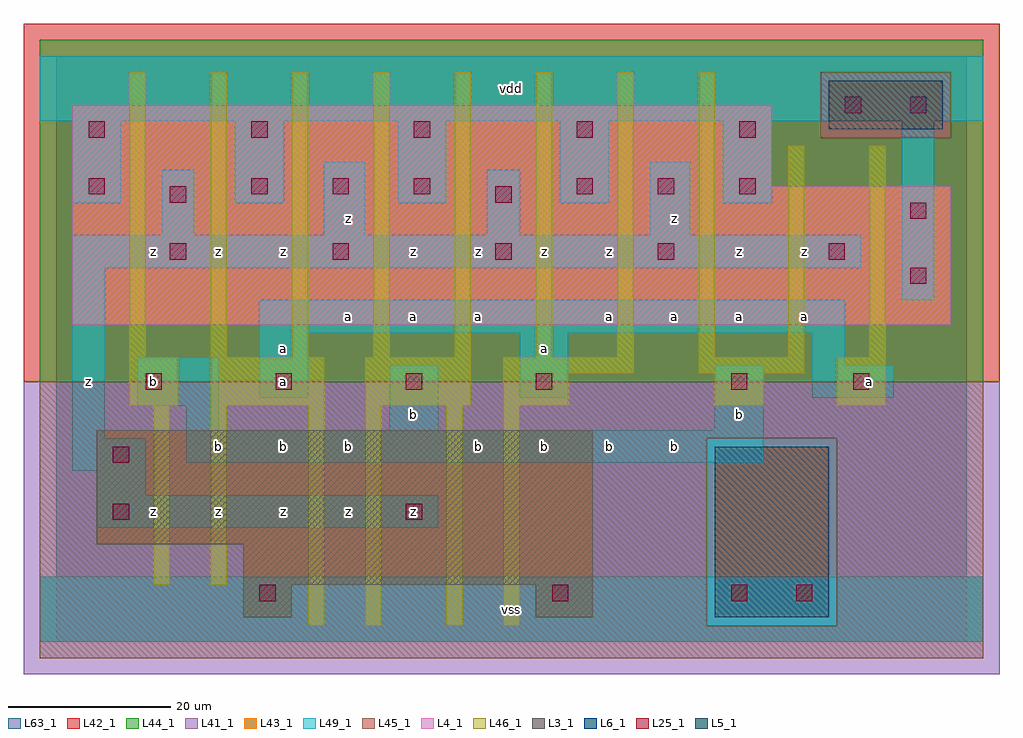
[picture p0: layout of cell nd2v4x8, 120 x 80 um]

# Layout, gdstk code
import gdstk
lib = gdstk.Library(unit=1e-6, precision=1e-09)
def R(c, l, rs):  # rectangles x0, y0, x1, y1
    for r in rs: c.add(gdstk.rectangle(r[:2], r[2:], *l))
def A(c, l, x, y, w, h, nx, ny, dx, dy):  # array of equal rectangles
    R(c, l, [(x+i*dx, y+j*dy, x+i*dx+w, y+j*dy+h) for i in range(nx) for j in range(ny)])
L3_1 = (3, 1)
L4_1 = (4, 1)
L5_1 = (5, 1)
L6_1 = (6, 1)
L25_1 = (25, 1)
L41_1 = (41, 1)
L42_1 = (42, 1)
L43_1 = (43, 1)
L44_1 = (44, 1)
L45_1 = (45, 1)
L46_1 = (46, 1)
L49_1 = (49, 1)
L63_1 = (63, 1)

nd2v4x8 = lib.new_cell('nd2v4x8')
R(nd2v4x8, L3_1, [(23,3,29,7), (59,3,66,7), (23,7,66,12), (5,12,66,26)])
R(nd2v4x8, L4_1, [(2,39,110,56), (2,56,88,66)])
R(nd2v4x8, L5_1, [(95,63,109,69)])
R(nd2v4x8, L6_1, [(81,3,95,24), (81,3,95,24)])
A(nd2v4x8, L25_1, 11, 31, 2, 2, 4, 1, 16, 0)
A(nd2v4x8, L25_1, 14, 47, 2, 2, 4, 1, 20, 0)
A(nd2v4x8, L25_1, 24, 55, 2, 2, 3, 1, 10, 0)
A(nd2v4x8, L25_1, 64, 55, 2, 2, 3, 1, 10, 0)
A(nd2v4x8, L25_1, 4, 62, 2, 2, 5, 1, 20, 0)
R(nd2v4x8, L25_1, [(25,5,27,7), (61,5,63,7), (83,5,85,7), (91,5,93,7), (7,15,9,17), (43,15,45,17), (7,22,9,24), (83,31,85,33), (98,31,100,33), (105,44,107,46), (95,47,97,49), (105,52,107,54), (14,54,16,56), (54,54,56,56), (4,55,6,57), (97,65,99,67), (105,65,107,67)])
R(nd2v4x8, L41_1, [(-4,-4,116,32)])
R(nd2v4x8, L42_1, [(-4,32,116,76)])
R(nd2v4x8, L43_1, [(23,3,29,7), (59,3,66,7), (81,3,95,24), (23,7,66,12), (5,12,66,26), (2,39,110,56), (2,56,88,66), (95,63,109,69)])
R(nd2v4x8, L44_1, [(80,2,96,25), (-2,32,114,62), (-2,62,94,70), (110,62,114,70), (-2,70,114,74)])
R(nd2v4x8, L45_1, [(-2,-2,114,2), (-2,2,80,25), (96,2,114,25), (-2,25,114,32), (94,62,110,70)])
A(nd2v4x8, L46_1, 9, 35, 2, 35, 8, 1, 10, 0)
R(nd2v4x8, L46_1, [(31,2,33,29), (38,2,40,29), (48,2,50,29), (55,2,57,29), (12,7,14,29), (19,7,21,29), (9,29,15,35), (19,29,33,35), (38,29,51,35), (55,29,63,33), (81,29,87,33), (96,29,102,35), (55,33,71,35), (79,33,92,35), (90,35,92,61), (100,35,102,61)])
A(nd2v4x8, L49_1, 2, 54, 6, 10, 5, 1, 20, 0)
R(nd2v4x8, L49_1, [(-2,0,114,8), (5,14,47,18), (5,18,11,21), (2,21,11,25), (16,22,87,26), (2,25,6,46), (16,26,20,29), (41,26,47,34), (81,26,87,34), (10,29,20,35), (25,30,31,38), (57,30,63,38), (93,30,103,34), (93,34,97,38), (25,38,97,42), (104,42,108,64), (2,46,99,50), (13,50,17,58), (33,50,38,59), (53,50,57,58), (73,50,78,59), (-2,64,114,72)])
R(nd2v4x8, L63_1, [(0,0,112,72)])
nd2v4x8.add(gdstk.Label('z', (12,16), layer=49, texttype=1))
nd2v4x8.add(gdstk.Label('b', (12,32), layer=49, texttype=1))
nd2v4x8.add(gdstk.Label('z', (4,32), layer=49, texttype=1))
nd2v4x8.add(gdstk.Label('z', (12,48), layer=49, texttype=1))
nd2v4x8.add(gdstk.Label('z', (28,16), layer=49, texttype=1))
nd2v4x8.add(gdstk.Label('z', (36,16), layer=49, texttype=1))
nd2v4x8.add(gdstk.Label('z', (20,16), layer=49, texttype=1))
nd2v4x8.add(gdstk.Label('b', (20,24), layer=49, texttype=1))
nd2v4x8.add(gdstk.Label('b', (28,24), layer=49, texttype=1))
nd2v4x8.add(gdstk.Label('b', (36,24), layer=49, texttype=1))
nd2v4x8.add(gdstk.Label('a', (28,32), layer=49, texttype=1))
nd2v4x8.add(gdstk.Label('a', (36,40), layer=49, texttype=1))
nd2v4x8.add(gdstk.Label('a', (28,36), layer=49, texttype=1))
nd2v4x8.add(gdstk.Label('z', (20,48), layer=49, texttype=1))
nd2v4x8.add(gdstk.Label('z', (36,52), layer=49, texttype=1))
nd2v4x8.add(gdstk.Label('z', (28,48), layer=49, texttype=1))
nd2v4x8.add(gdstk.Label('vss', (56,4), layer=49, texttype=1))
nd2v4x8.add(gdstk.Label('z', (44,16), layer=49, texttype=1))
nd2v4x8.add(gdstk.Label('b', (52,24), layer=49, texttype=1))
nd2v4x8.add(gdstk.Label('b', (60,24), layer=49, texttype=1))
nd2v4x8.add(gdstk.Label('b', (44,28), layer=49, texttype=1))
nd2v4x8.add(gdstk.Label('a', (44,40), layer=49, texttype=1))
nd2v4x8.add(gdstk.Label('a', (52,40), layer=49, texttype=1))
nd2v4x8.add(gdstk.Label('a', (60,36), layer=49, texttype=1))
nd2v4x8.add(gdstk.Label('z', (44,48), layer=49, texttype=1))
nd2v4x8.add(gdstk.Label('z', (52,48), layer=49, texttype=1))
nd2v4x8.add(gdstk.Label('z', (60,48), layer=49, texttype=1))
nd2v4x8.add(gdstk.Label('vdd', (56,68), layer=49, texttype=1))
nd2v4x8.add(gdstk.Label('b', (68,24), layer=49, texttype=1))
nd2v4x8.add(gdstk.Label('b', (76,24), layer=49, texttype=1))
nd2v4x8.add(gdstk.Label('b', (84,28), layer=49, texttype=1))
nd2v4x8.add(gdstk.Label('a', (68,40), layer=49, texttype=1))
nd2v4x8.add(gdstk.Label('a', (76,40), layer=49, texttype=1))
nd2v4x8.add(gdstk.Label('a', (84,40), layer=49, texttype=1))
nd2v4x8.add(gdstk.Label('z', (68,48), layer=49, texttype=1))
nd2v4x8.add(gdstk.Label('z', (76,52), layer=49, texttype=1))
nd2v4x8.add(gdstk.Label('z', (84,48), layer=49, texttype=1))
nd2v4x8.add(gdstk.Label('a', (100,32), layer=49, texttype=1))
nd2v4x8.add(gdstk.Label('a', (92,40), layer=49, texttype=1))
nd2v4x8.add(gdstk.Label('z', (92,48), layer=49, texttype=1))

lib.write_gds('nd2v4x8.gds')
